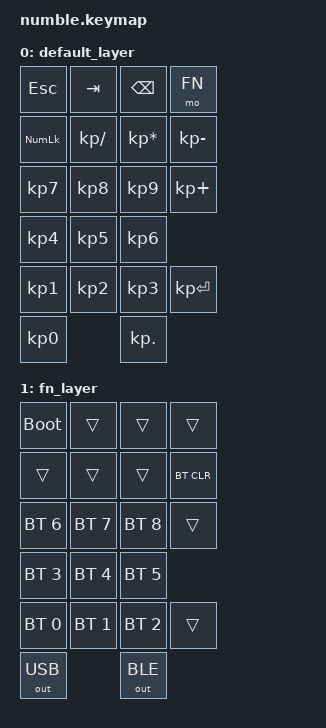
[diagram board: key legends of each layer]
#include <behaviors.dtsi>
#include <dt-bindings/zmk/keys.h>
#include <dt-bindings/zmk/bt.h>
#include <dt-bindings/zmk/outputs.h>

// Key code aliases (for better keymap alignment)
#define KP_DIV KP_DIVIDE
#define KP_MULT KP_MULTIPLY

// Layers
#define DEFAULT 0
#define FN 1

/ {
    chosen {
        // Change this to match your selected layout:
        //   &transform_numpad_21 - 21-key numpad
        //   &transform_numpad_22 - 22-key numpad
        //   &transform_macropad  - 24-key (4x6) macropad
        zmk,matrix_transform = &transform_numpad_21;
        // Uncomment to enable fuel gauge
        // zmk,battery = &fuel_gauge;
    };

    keymap {
        compatible = "zmk,keymap";

        default_layer {
            bindings = <
                &kp ESC    &kp TAB    &kp BSPC    &mo FN
                &kp KP_NUM &kp KP_DIV &kp KP_MULT &kp KP_MINUS
                &kp KP_N7  &kp KP_N8  &kp KP_N9   &kp KP_PLUS
                &kp KP_N4  &kp KP_N5  &kp KP_N6
                &kp KP_N1  &kp KP_N2  &kp KP_N3   &kp KP_ENTER
                &kp KP_N0             &kp KP_DOT
            >;

            // Uncomment to enable the encoder.
            // sensor-bindings = <
            //     &inc_dec_kp C_VOL_UP C_VOL_DN
            // >;
        };

        fn_layer {
            bindings = <
                &bootloader  &trans       &trans       &trans
                &trans       &trans       &trans       &bt BT_CLR
                &bt BT_SEL 6 &bt BT_SEL 7 &bt BT_SEL 8 &trans
                &bt BT_SEL 3 &bt BT_SEL 4 &bt BT_SEL 5
                &bt BT_SEL 0 &bt BT_SEL 1 &bt BT_SEL 2 &trans
                &out OUT_USB              &out OUT_BLE
            >;
        };
    };

    // Uncomment to enable the encoder.
    // sensors {
    //     compatible = "zmk,keymap-sensors";
    //     sensors = <&encoder>;
    // };
};

// Uncomment to enable the encoder.
// &encoder {
//     status = "okay";
// };

&fuel_gauge {
    // Your battery capacity in mAh
    design-capacity = <1200>;
};
